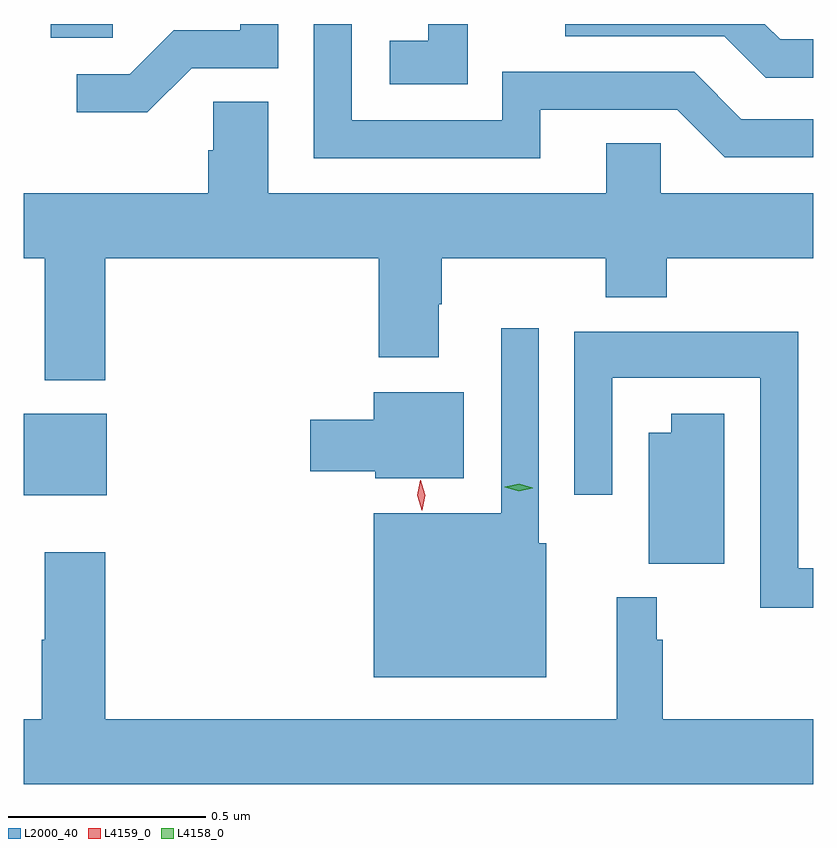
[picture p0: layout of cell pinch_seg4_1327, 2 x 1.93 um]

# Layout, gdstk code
import gdstk
lib = gdstk.Library(unit=1e-6, precision=1e-09)
def R(c, l, rs):  # rectangles x0, y0, x1, y1
    for r in rs: c.add(gdstk.rectangle(r[:2], r[2:], *l))
def P(c, l, *ps):  # polygons
    for p in ps: c.add(gdstk.Polygon(p, *l))
L2000_40 = (2000, 40)
L4158_0 = (4158, 0)
L4159_0 = (4159, 0)

pinch_seg4_1327 = lib.new_cell('pinch_seg4_1327')
R(pinch_seg4_1327, L2000_40, [(353.976,773.576,354.187,773.782), (354.044,774.734,354.201,774.769)])
P(pinch_seg4_1327, L2000_40, [(355.976,774.73),(355.892,774.73),(355.853,774.769),(355.348,774.769),(355.348,774.738),(355.751,774.738),(355.856,774.633),(355.976,774.633)],
  [(354.402,774.657),(354.621,774.657),(354.621,774.769),(354.525,774.769),(354.525,774.753),(354.356,774.753),(354.245,774.642),(354.111,774.642),(354.111,774.545),(354.289,774.545)],
  [(355.285,774.552),(355.632,774.552),(355.752,774.432),(355.976,774.432),(355.976,774.528),(355.794,774.528),(355.674,774.648),(355.188,774.648),(355.188,774.525),(354.807,774.525),(354.807,774.769),(354.711,774.769),(354.711,774.429),(355.285,774.429)],
  [(355.101,774.769),(355.001,774.769),(355.001,774.727),(354.903,774.727),(354.903,774.617),(355.101,774.617)],
  [(354.182,774.176),(354.875,774.176),(354.875,773.925),(355.027,773.925),(355.027,774.059),(355.035,774.059),(355.035,774.176),(355.45,774.176),(355.45,774.077),(355.605,774.077),(355.605,774.176),(355.976,774.176),(355.976,774.34),(355.59,774.34),(355.59,774.467),(355.451,774.467),(355.451,774.34),(354.595,774.34),(354.595,774.572),(354.456,774.572),(354.456,774.449),(354.443,774.449),(354.443,774.34),(353.976,774.34),(353.976,774.176),(354.029,774.176),(354.029,773.867),(354.182,773.867)],
  [(355.3,773.454),(355.281,773.454),(355.281,773.998),(355.185,773.998),(355.185,773.53),(354.863,773.53),(354.863,773.114),(355.3,773.114)],
  [(355.976,773.391),(355.938,773.391),(355.938,773.989),(355.371,773.989),(355.371,773.577),(355.467,773.577),(355.467,773.873),(355.842,773.873),(355.842,773.29),(355.976,773.29)],
  [(355.09,773.836),(354.863,773.836),(354.863,773.766),(354.702,773.766),(354.702,773.636),(354.867,773.636),(354.867,773.618),(355.09,773.618)],
  [(355.75,773.782),(355.616,773.782),(355.616,773.734),(355.559,773.734),(355.559,773.402),(355.75,773.402)],
  [(355.976,773.008),(355.595,773.008),(355.595,773.21),(355.58,773.21),(355.58,773.317),(355.478,773.317),(355.478,773.008),(354.182,773.008),(354.182,773.431),(354.029,773.431),(354.029,773.21),(354.022,773.21),(354.022,773.008),(353.976,773.008),(353.976,772.844),(355.976,772.844)])
P(pinch_seg4_1327, L4158_0, [(355.23,773.585),(355.194,773.596),(355.194,773.597),(355.194,773.597),(355.231,773.605),(355.266,773.594),(355.266,773.593),(355.266,773.593)])
P(pinch_seg4_1327, L4159_0, [(354.984,773.537),(354.984,773.537),(354.973,773.575),(354.981,773.613),(354.982,773.613),(354.982,773.613),(354.993,773.575),(354.985,773.537)])

lib.write_gds('pinch_seg4_1327.gds')
